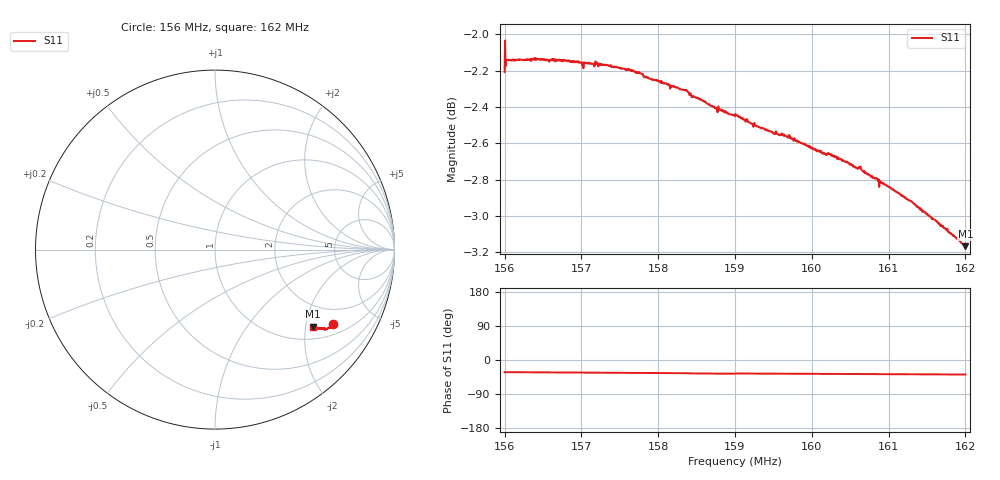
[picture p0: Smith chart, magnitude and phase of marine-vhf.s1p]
! Calibrated averaged scanner-service zoom
# Hz S RI R 50
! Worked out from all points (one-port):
!   1001 points, 156 MHz to 162 MHz, reference 50 ohm
!   lowest |S11| = -3.2 dB at 162 MHz (marker M1), VSWR 5.55, Z = 66.1 - j110 ohm
!   |S11| at or under -10 dB: nowhere
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1.56e8  0.6558 -0.4141
1.56036e8  0.6619 -0.4157
1.56048e8  0.6619 -0.4159
1.56396e8  0.6593 -0.4204
1.5675e8  0.6561 -0.4248
1.57326e8  0.6487 -0.4317
1.575e8  0.6455 -0.4338
1.5777e8  0.6408 -0.4358
1.57902e8  0.6378 -0.4352
1.5825e8  0.6313 -0.4375
1.5837e8  0.6294 -0.4379
1.58436e8  0.6221 -0.4423
1.58652e8  0.6166 -0.4441
1.58748e8  0.6142 -0.4445
1.5897e8  0.6101 -0.4445
1.59e8  0.6094 -0.4443
1.59036e8  0.6132 -0.4397
1.59108e8  0.6116 -0.4395
1.59492e8  0.6034 -0.4394
1.5975e8  0.5994 -0.44
1.60164e8  0.5911 -0.4394
1.60242e8  0.5903 -0.4395
1.605e8  0.5847 -0.4393
1.60638e8  0.5833 -0.4393
1.60842e8  0.577 -0.4392
1.6125e8  0.5668 -0.4363
1.61754e8  0.552 -0.4329
1.62e8  0.5452 -0.4302
